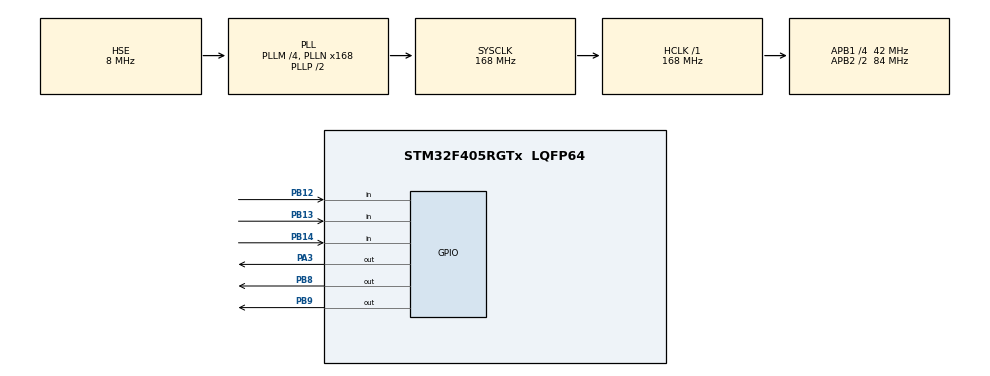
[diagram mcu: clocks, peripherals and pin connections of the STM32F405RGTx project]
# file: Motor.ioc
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Mcu.Family=STM32F4
Mcu.Name=STM32F405RGTx
Mcu.Package=LQFP64
NVIC.PriorityGroup=NVIC_PRIORITYGROUP_4
PA13.Mode=Serial_Wire
PA13.Signal=SYS_JTMS-SWDIO
PA14.Mode=Serial_Wire
PA14.Signal=SYS_JTCK-SWCLK
PA3.Signal=GPIO_Output
PB12.Signal=GPIO_Input
PB13.Signal=GPIO_Input
PB14.Signal=GPIO_Input
PB8.Signal=GPIO_Output
PB9.Signal=GPIO_Output
PH0-OSC_IN.Mode=HSE-External-Oscillator
PH0-OSC_IN.Signal=RCC_OSC_IN
PH1-OSC_OUT.Mode=HSE-External-Oscillator
PH1-OSC_OUT.Signal=RCC_OSC_OUT
ProjectManager.HeapSize=0x200
ProjectManager.StackSize=0x400
ProjectManager.TargetToolchain=EWARM V8.32
RCC.48MHZClocksFreq_Value=84000000
RCC.AHBFreq_Value=168000000
RCC.APB1CLKDivider=RCC_HCLK_DIV4
RCC.APB1Freq_Value=42000000
RCC.APB1TimFreq_Value=84000000
RCC.APB2CLKDivider=RCC_HCLK_DIV2
RCC.APB2Freq_Value=84000000
RCC.APB2TimFreq_Value=168000000
RCC.CortexFreq_Value=168000000
RCC.HCLKFreq_Value=168000000
RCC.HSE_VALUE=8000000
RCC.HSI_VALUE=16000000
RCC.LSE_VALUE=32768
RCC.PLLM=4
RCC.PLLN=168
RCC.PLLSourceVirtual=RCC_PLLSOURCE_HSE
RCC.SYSCLKFreq_VALUE=168000000
RCC.SYSCLKSource=RCC_SYSCLKSOURCE_PLLCLK
RCC.VCOOutputFreq_Value=336000000
board=custom

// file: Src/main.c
/* USER CODE BEGIN Header */
/**
  ******************************************************************************
  * @file           : main.c
  * @brief          : Main program body
  ******************************************************************************
  * @attention
  *
  * <h2><center>&copy; Copyright (c) 2020 STMicroelectronics.
  * All rights reserved.</center></h2>
  *
  * This software component is licensed by ST under BSD 3-Clause license,
  * the "License"; You may not use this file except in compliance with the
  * License. You may obtain a copy of the License at:
  *                        opensource.org/licenses/BSD-3-Clause
  *
  ******************************************************************************
  */
/* USER CODE END Header */

#include "main.h"
#include "gpio.h"

void SystemClock_Config(void);

int main(void)
{
  /* USER CODE BEGIN 1 */
  int checkButton[] = {0, 0, 0, 0};
  /* USER CODE END 1 */

  /* MCU Configuration--------------------------------------------------------*/

  /* Reset of all peripherals, Initializes the Flash interface and the Systick. */
  HAL_Init();

  /* Configure the system clock */
  SystemClock_Config();

  /* Initialize all configured peripherals */
  MX_GPIO_Init();

  /* Infinite loop */
  /* USER CODE BEGIN WHILE */
  HAL_GPIO_WritePin(GPIOB, GPIO_PIN_8, GPIO_PIN_SET);
  HAL_GPIO_WritePin(GPIOB, GPIO_PIN_9, GPIO_PIN_RESET);
  HAL_GPIO_WritePin(GPIOA, GPIO_PIN_3, GPIO_PIN_SET);
  while (1)
  {
    if(HAL_GPIO_ReadPin(GPIOB, GPIO_PIN_12))
    {
      if(checkButton[0] == 0) // 모터 강제로 정지
      {
        checkButton[0] = 1;
        HAL_GPIO_WritePin(GPIOB, GPIO_PIN_8, GPIO_PIN_SET);
        HAL_GPIO_WritePin(GPIOB, GPIO_PIN_9, GPIO_PIN_SET);
      }
      else
      {
        checkButton[0] = 0;
      }
    }
    else if(HAL_GPIO_ReadPin(GPIOB, GPIO_PIN_13)) // 모터 천천히 정지
    {
      if(checkButton[1] == 0)
      {
        checkButton[1] = 1;
        HAL_GPIO_WritePin(GPIOA, GPIO_PIN_3, GPIO_PIN_RESET);
      }
      else
      {
        checkButton[1] = 0;
      }
    }
    else if(HAL_GPIO_ReadPin(GPIOB, GPIO_PIN_14)) // 정방향
    {
      if(checkButton[2] == 0)
      {
        checkButton[2] = 1;
        HAL_GPIO_WritePin(GPIOB, GPIO_PIN_8, GPIO_PIN_SET);
        HAL_GPIO_WritePin(GPIOB, GPIO_PIN_9, GPIO_PIN_RESET);
        HAL_GPIO_WritePin(GPIOA, GPIO_PIN_3, GPIO_PIN_SET);
      }
      else
      {
        checkButton[2] = 0;
      }
    }
    else if(HAL_GPIO_ReadPin(GPIOB, GPIO_PIN_15)) // 역방향
    {
      if(checkButton[3] == 0)
      {
        checkButton[3] = 1;
        HAL_GPIO_WritePin(GPIOB, GPIO_PIN_8, GPIO_PIN_RESET);
        HAL_GPIO_WritePin(GPIOB, GPIO_PIN_9, GPIO_PIN_SET);
        HAL_GPIO_WritePin(GPIOA, GPIO_PIN_3, GPIO_PIN_SET);
      }
      else
      {
        checkButton[3] = 0;
      }
    }
    HAL_Delay(250);
    /* USER CODE END WHILE */

  }
}

void SystemClock_Config(void)
{
  RCC_OscInitTypeDef RCC_OscInitStruct = {0};
  RCC_ClkInitTypeDef RCC_ClkInitStruct = {0};

  /** Configure the main internal regulator output voltage
  */
  __HAL_RCC_PWR_CLK_ENABLE();
  __HAL_PWR_VOLTAGESCALING_CONFIG(PWR_REGULATOR_VOLTAGE_SCALE1);
  /** Initializes the CPU, AHB and APB busses clocks
  */
  RCC_OscInitStruct.OscillatorType = RCC_OSCILLATORTYPE_HSE;
  RCC_OscInitStruct.HSEState = RCC_HSE_ON;
  RCC_OscInitStruct.PLL.PLLState = RCC_PLL_ON;
  RCC_OscInitStruct.PLL.PLLSource = RCC_PLLSOURCE_HSE;
  RCC_OscInitStruct.PLL.PLLM = 4;
  RCC_OscInitStruct.PLL.PLLN = 168;
  RCC_OscInitStruct.PLL.PLLP = RCC_PLLP_DIV2;
  RCC_OscInitStruct.PLL.PLLQ = 4;
  if (HAL_RCC_OscConfig(&RCC_OscInitStruct) != HAL_OK)
  {
    Error_Handler();
  }
  /** Initializes the CPU, AHB and APB busses clocks
  */
  RCC_ClkInitStruct.ClockType = RCC_CLOCKTYPE_HCLK|RCC_CLOCKTYPE_SYSCLK
                              |RCC_CLOCKTYPE_PCLK1|RCC_CLOCKTYPE_PCLK2;
  RCC_ClkInitStruct.SYSCLKSource = RCC_SYSCLKSOURCE_PLLCLK;
  RCC_ClkInitStruct.AHBCLKDivider = RCC_SYSCLK_DIV1;
  RCC_ClkInitStruct.APB1CLKDivider = RCC_HCLK_DIV4;
  RCC_ClkInitStruct.APB2CLKDivider = RCC_HCLK_DIV2;

  if (HAL_RCC_ClockConfig(&RCC_ClkInitStruct, FLASH_LATENCY_5) != HAL_OK)
  {
    Error_Handler();
  }
}

void Error_Handler(void)
{
}

/************************ (C) COPYRIGHT STMicroelectronics *****END OF FILE****/
